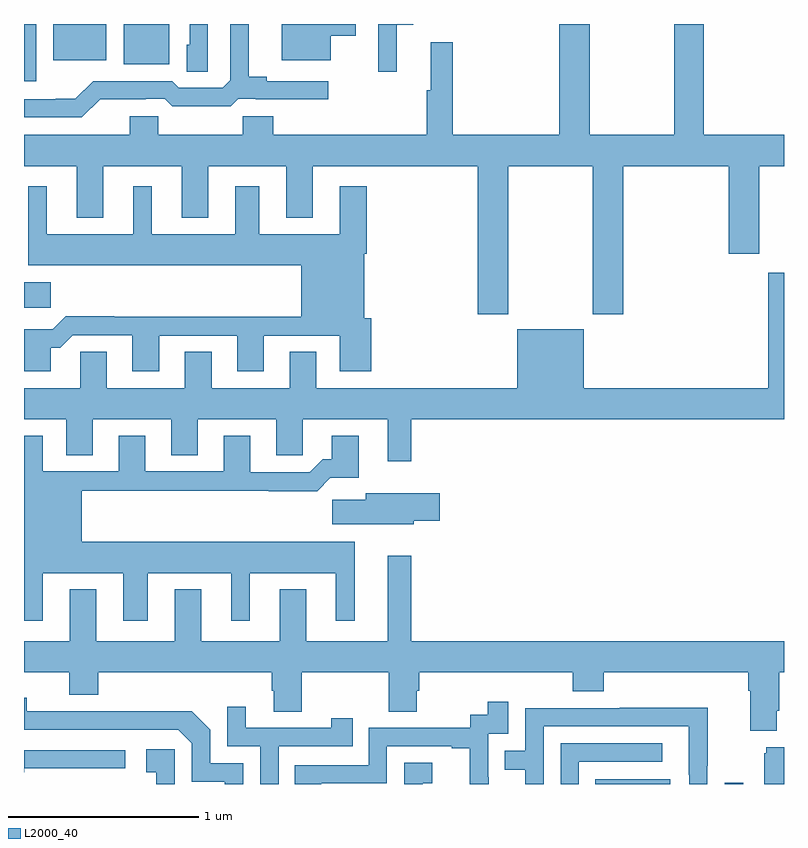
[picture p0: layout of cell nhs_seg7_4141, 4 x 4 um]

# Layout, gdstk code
import gdstk
lib = gdstk.Library(unit=1e-6, precision=1e-09)
def R(c, l, rs):  # rectangles x0, y0, x1, y1
    for r in rs: c.add(gdstk.rectangle(r[:2], r[2:], *l))
def P(c, l, *ps):  # polygons
    for p in ps: c.add(gdstk.Polygon(p, *l))
L2000_40 = (2000, 40)

nhs_seg7_4141 = lib.new_cell('nhs_seg7_4141')
R(nhs_seg7_4141, L2000_40, [(376.006,1028,376.402,1028.026), (376.689,1028,376.785,1028.007), (373,1030.507,373.141,1030.642), (373,1031.7,373.065,1032), (373.526,1031.789,373.765,1032), (373.154,1031.81,373.432,1032)])
P(nhs_seg7_4141, L2000_40, [(375.549,1031.252),(375.994,1031.252),(375.994,1030.473),(376.154,1030.473),(376.154,1031.252),(376.709,1031.252),(376.709,1030.791),(376.869,1030.791),(376.869,1031.252),(377,1031.252),(377,1031.416),(376.578,1031.416),(376.578,1032),(376.423,1032),(376.423,1031.416),(375.978,1031.416),(375.978,1032),(375.818,1032),(375.818,1031.416),(375.257,1031.416),(375.257,1031.905),(375.14,1031.905),(375.14,1031.652),(375.121,1031.652),(375.121,1031.416),(374.312,1031.416),(374.312,1031.514),(374.152,1031.514),(374.152,1031.416),(373.707,1031.416),(373.707,1031.514),(373.556,1031.514),(373.556,1031.416),(373,1031.416),(373,1031.252),(373.277,1031.252),(373.277,1030.979),(373.417,1030.979),(373.417,1031.252),(373.829,1031.252),(373.829,1030.979),(373.969,1030.979),(373.969,1031.252),(374.381,1031.252),(374.381,1030.979),(374.521,1030.979),(374.521,1031.252),(375.389,1031.252),(375.389,1030.473),(375.549,1030.473)],
  [(373.968,1032),(373.872,1032),(373.872,1031.892),(373.856,1031.892),(373.856,1031.749),(373.968,1031.749)],
  [(374.614,1031.939),(374.746,1031.939),(374.746,1032),(374.357,1032),(374.357,1031.81),(374.614,1031.81)],
  [(374.963,1031.996),(375.049,1031.996),(375.049,1032),(374.865,1032),(374.865,1031.748),(374.963,1031.748)],
  [(373.4,1031.603),(373.64,1031.603),(373.64,1031.607),(373.74,1031.607),(373.78,1031.568),(374.087,1031.568),(374.127,1031.607),(374.221,1031.607),(374.221,1031.603),(374.602,1031.603),(374.602,1031.7),(374.278,1031.7),(374.278,1031.723),(374.182,1031.723),(374.182,1032),(374.085,1032),(374.085,1031.703),(374.046,1031.664),(373.815,1031.664),(373.779,1031.7),(373.365,1031.7),(373.271,1031.606),(373.166,1031.606),(373.166,1031.604),(373,1031.604),(373,1031.508),(373.305,1031.508)],
  [(373.141,1030.295),(373.19,1030.295),(373.257,1030.362),(373.571,1030.362),(373.571,1030.173),(373.711,1030.173),(373.711,1030.359),(374.123,1030.359),(374.123,1030.173),(374.263,1030.173),(374.263,1030.359),(374.663,1030.359),(374.663,1030.173),(374.828,1030.173),(374.828,1030.452),(374.791,1030.452),(374.791,1030.79),(374.804,1030.79),(374.804,1031.146),(374.663,1031.146),(374.663,1030.894),(374.239,1030.894),(374.239,1031.146),(374.111,1031.146),(374.111,1030.894),(373.672,1030.894),(373.672,1031.146),(373.574,1031.146),(373.574,1030.894),(373.12,1030.894),(373.12,1031.146),(373.022,1031.146),(373.022,1030.73),(374.459,1030.73),(374.459,1030.46),(373.475,1030.46),(373.475,1030.463),(373.22,1030.463),(373.15,1030.393),(373.001,1030.393),(373.001,1030.173),(373.141,1030.173)],
  [(375.037,1029.92),(377,1029.92),(377,1030.69),(376.916,1030.69),(376.916,1030.084),(375.946,1030.084),(375.946,1030.393),(375.596,1030.393),(375.596,1030.084),(374.539,1030.084),(374.539,1030.274),(374.399,1030.274),(374.399,1030.084),(373.987,1030.084),(373.987,1030.274),(373.847,1030.274),(373.847,1030.084),(373.435,1030.084),(373.435,1030.274),(373.296,1030.274),(373.296,1030.084),(373,1030.084),(373,1029.92),(373.223,1029.92),(373.223,1029.73),(373.363,1029.73),(373.363,1029.92),(373.775,1029.92),(373.775,1029.73),(373.915,1029.73),(373.915,1029.92),(374.327,1029.92),(374.327,1029.73),(374.466,1029.73),(374.466,1029.92),(374.915,1029.92),(374.915,1029.699),(375.037,1029.699)],
  [(373.099,1029.11),(373.523,1029.11),(373.523,1028.859),(373.651,1028.859),(373.651,1029.11),(374.09,1029.11),(374.09,1028.859),(374.188,1028.859),(374.188,1029.11),(374.642,1029.11),(374.642,1028.859),(374.74,1028.859),(374.74,1029.274),(373.303,1029.274),(373.303,1029.544),(374.287,1029.544),(374.287,1029.542),(374.543,1029.542),(374.612,1029.611),(374.761,1029.611),(374.761,1029.832),(374.621,1029.832),(374.621,1029.709),(374.572,1029.709),(374.505,1029.642),(374.191,1029.642),(374.191,1029.832),(374.051,1029.832),(374.051,1029.645),(373.639,1029.645),(373.639,1029.832),(373.499,1029.832),(373.499,1029.645),(373.099,1029.645),(373.099,1029.832),(373,1029.832),(373,1028.859),(373.099,1028.859)],
  [(375.052,1029.386),(375.187,1029.386),(375.187,1029.529),(374.798,1029.529),(374.798,1029.497),(374.622,1029.497),(374.622,1029.368),(375.052,1029.368)],
  [(373.793,1029.025),(373.793,1028.752),(373.381,1028.752),(373.381,1029.025),(373.241,1029.025),(373.241,1028.752),(373,1028.752),(373,1028.588),(373.238,1028.588),(373.238,1028.471),(373.391,1028.471),(373.391,1028.588),(374.303,1028.588),(374.303,1028.49),(374.315,1028.49),(374.315,1028.38),(374.463,1028.38),(374.463,1028.588),(374.92,1028.588),(374.92,1028.38),(375.067,1028.38),(375.067,1028.49),(375.08,1028.49),(375.08,1028.588),(375.887,1028.588),(375.887,1028.489),(376.052,1028.489),(376.052,1028.588),(376.811,1028.588),(376.811,1028.492),(376.823,1028.492),(376.823,1028.279),(376.963,1028.279),(376.963,1028.386),(376.976,1028.386),(376.976,1028.588),(377,1028.588),(377,1028.752),(375.037,1028.752),(375.037,1029.202),(374.915,1029.202),(374.915,1028.752),(374.485,1028.752),(374.485,1029.025),(374.345,1029.025),(374.345,1028.752),(373.933,1028.752),(373.933,1029.025)],
  [(374.154,1028.109),(373.98,1028.109),(373.98,1028.286),(373.882,1028.384),(373.474,1028.384),(373.474,1028.382),(373.014,1028.382),(373.014,1028.455),(373,1028.455),(373,1028.286),(373.812,1028.286),(373.884,1028.214),(373.884,1028.013),(374.057,1028.013),(374.057,1028),(374.154,1028)],
  [(374.565,1028.004),(374.91,1028.004),(374.91,1028.199),(375.251,1028.199),(375.251,1028.187),(375.347,1028.187),(375.347,1028),(375.446,1028),(375.446,1028.036),(375.444,1028.036),(375.444,1028.265),(375.549,1028.265),(375.549,1028.434),(375.441,1028.434),(375.441,1028.364),(375.348,1028.364),(375.348,1028.295),(374.814,1028.295),(374.814,1028.1),(374.425,1028.1),(374.425,1028),(374.565,1028)],
  [(374.34,1028.199),(374.729,1028.199),(374.729,1028.347),(374.618,1028.347),(374.618,1028.295),(374.167,1028.295),(374.167,1028.407),(374.07,1028.407),(374.07,1028.199),(374.244,1028.199),(374.244,1028),(374.34,1028)],
  [(375.735,1028.304),(376.499,1028.304),(376.499,1028.05),(376.5,1028.05),(376.5,1028),(376.596,1028),(376.596,1028.095),(376.599,1028.095),(376.599,1028.402),(376.135,1028.402),(376.135,1028.4),(375.639,1028.4),(375.639,1028.175),(375.529,1028.175),(375.529,1028.074),(375.639,1028.074),(375.639,1028),(375.735,1028)],
  [(375.921,1028.118),(376.36,1028.118),(376.36,1028.214),(375.825,1028.214),(375.825,1028),(375.921,1028)],
  [(377,1028.194),(376.907,1028.194),(376.907,1028.163),(376.895,1028.163),(376.895,1028),(377,1028)],
  [(373.794,1028.182),(373.644,1028.182),(373.644,1028.061),(373.697,1028.061),(373.697,1028),(373.794,1028)],
  [(373.001,1028.082),(373.534,1028.082),(373.534,1028.178),(373,1028.178),(373,1028.062),(373.001,1028.062)],
  [(375.099,1028.003),(375.148,1028.003),(375.148,1028.113),(375,1028.113),(375,1028),(375.099,1028)])

lib.write_gds('nhs_seg7_4141.gds')
